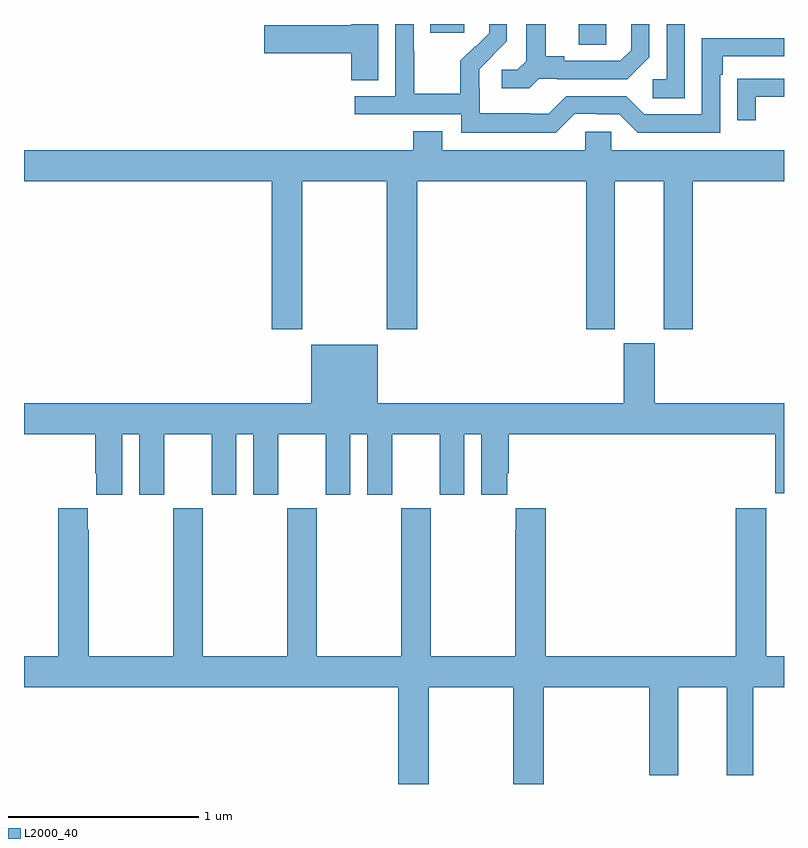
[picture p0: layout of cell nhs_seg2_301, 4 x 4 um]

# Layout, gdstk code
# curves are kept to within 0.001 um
import gdstk
lib = gdstk.Library(unit=1e-6, precision=1e-09)
def R(c, l, rs):  # rectangles x0, y0, x1, y1
    for r in rs: c.add(gdstk.rectangle(r[:2], r[2:], *l))
def P(c, l, *ps):  # polygons
    for p in ps: c.add(gdstk.Polygon(p, *l))
L2000_40 = (2000, 40)

nhs_seg2_301 = lib.new_cell('nhs_seg2_301')
R(nhs_seg2_301, L2000_40, [(127.919,645.691,128.064,645.8), (127.139,645.753,127.318,645.8)])
P(nhs_seg2_301, L2000_40, [(128.478,645.8),(128.382,645.8),(128.382,645.51),(128.31,645.51),(128.31,645.409),(128.478,645.409)],
  [(126.865,645.8),(126.722,645.8),(126.722,645.794),(126.264,645.794),(126.264,645.647),(126.722,645.647),(126.722,645.505),(126.865,645.505)],
  [(127.71,645.513),(127.804,645.513),(127.804,645.51),(128.176,645.51),(128.292,645.626),(128.292,645.8),(128.195,645.8),(128.195,645.663),(128.138,645.606),(127.843,645.606),(127.843,645.629),(127.747,645.629),(127.747,645.8),(127.643,645.8),(127.643,645.605),(127.596,645.558),(127.515,645.558),(127.515,645.461),(127.658,645.461)],
  [(127.899,645.327),(128.015,645.327),(128.015,645.324),(128.133,645.324),(128.229,645.228),(128.664,645.228),(128.664,645.533),(128.677,645.533),(128.677,645.63),(129,645.63),(129,645.726),(128.568,645.726),(128.568,645.324),(128.265,645.324),(128.169,645.42),(127.854,645.42),(127.761,645.327),(127.661,645.327),(127.661,645.331),(127.398,645.331),(127.398,645.465),(127.396,645.465),(127.396,645.562),(127.542,645.71),(127.542,645.8),(127.448,645.8),(127.448,645.752),(127.377,645.681),(127.374,645.684),(127.297,645.607),(127.297,645.433),(127.053,645.433),(127.053,645.656),(127.05,645.656),(127.05,645.8),(126.954,645.8),(126.954,645.42),(126.741,645.42),(126.741,645.324),(127.302,645.324),(127.302,645.227),(127.799,645.227)],
  [(128.851,645.417),(129,645.417),(129,645.513),(128.857,645.513),(128.857,645.512),(128.755,645.512),(128.755,645.294),(128.851,645.294)],
  [(126.465,644.972),(126.91,644.972),(126.91,644.193),(127.07,644.193),(127.07,644.972),(127.958,644.972),(127.958,644.193),(128.11,644.193),(128.11,644.972),(128.366,644.972),(128.366,644.193),(128.519,644.193),(128.519,644.972),(129,644.972),(129,645.136),(128.091,645.136),(128.091,645.234),(127.953,645.234),(127.953,645.136),(127.201,645.136),(127.201,645.235),(127.049,645.235),(127.049,645.136),(125,645.136),(125,644.972),(126.305,644.972),(126.305,644.193),(126.465,644.193)],
  [(125.518,643.64),(125.606,643.64),(125.606,643.323),(125.737,643.323),(125.737,643.64),(125.987,643.64),(125.987,643.323),(126.118,643.323),(126.118,643.64),(126.206,643.64),(126.206,643.323),(126.337,643.323),(126.337,643.64),(126.587,643.64),(126.587,643.323),(126.718,643.323),(126.718,643.64),(126.806,643.64),(126.806,643.323),(126.937,643.323),(126.937,643.64),(127.187,643.64),(127.187,643.323),(127.318,643.323),(127.318,643.64),(127.406,643.64),(127.406,643.323),(127.543,643.323),(127.543,643.435),(127.55,643.435),(127.55,643.64),(128.954,643.64),(128.954,643.331),(129,643.331),(129,643.804),(128.32,643.804),(128.32,644.121),(128.156,644.121),(128.156,643.804),(126.862,643.804),(126.862,644.113),(126.512,644.113),(126.512,643.804),(125,643.804),(125,643.64),(125.375,643.64),(125.375,643.435),(125.381,643.435),(125.381,643.323),(125.518,643.323)],
  [(127.131,642.308),(127.576,642.308),(127.576,641.8),(127.736,641.8),(127.736,642.308),(128.291,642.308),(128.291,641.847),(128.443,641.847),(128.443,642.308),(128.699,642.308),(128.699,641.847),(128.839,641.847),(128.839,642.308),(129,642.308),(129,642.472),(128.907,642.472),(128.907,643.252),(128.747,643.252),(128.747,642.472),(127.745,642.472),(127.745,643.252),(127.589,643.252),(127.589,643.139),(127.585,643.139),(127.585,642.472),(127.14,642.472),(127.14,643.252),(126.985,643.252),(126.985,642.472),(126.54,642.472),(126.54,643.252),(126.385,643.252),(126.385,642.472),(125.94,642.472),(125.94,643.252),(125.785,643.252),(125.785,642.472),(125.34,642.472),(125.34,643.139),(125.335,643.139),(125.335,643.252),(125.18,643.252),(125.18,642.472),(125,642.472),(125,642.308),(126.971,642.308),(126.971,641.8),(127.131,641.8)])

lib.write_gds('nhs_seg2_301.gds')
